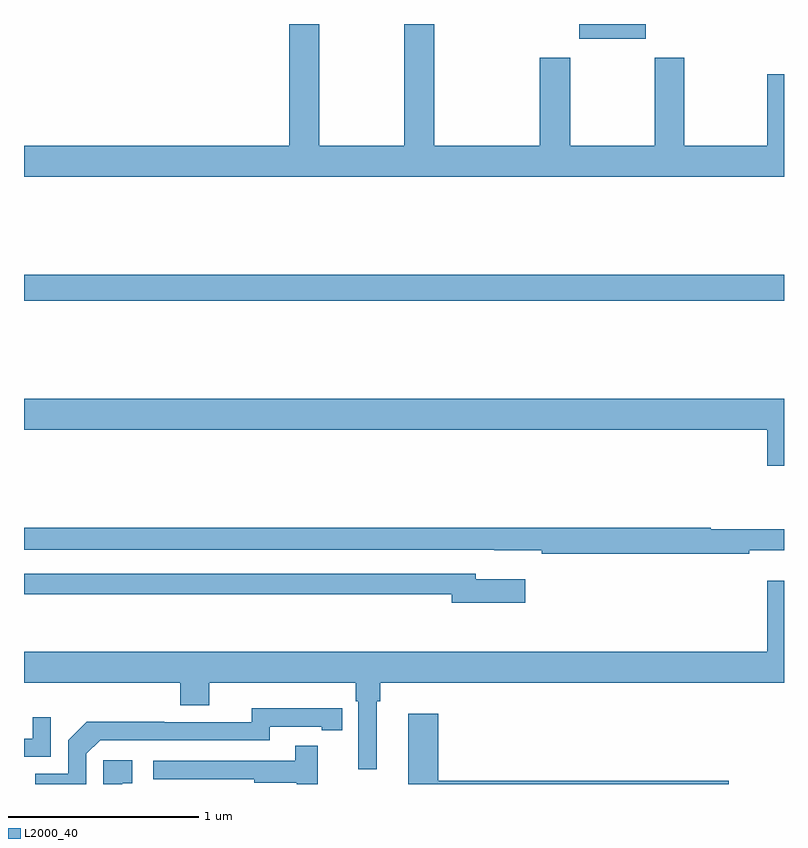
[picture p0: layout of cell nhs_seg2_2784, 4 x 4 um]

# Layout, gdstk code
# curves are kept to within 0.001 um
import gdstk
lib = gdstk.Library(unit=1e-6, precision=1e-09)
def R(c, l, rs):  # rectangles x0, y0, x1, y1
    for r in rs: c.add(gdstk.rectangle(r[:2], r[2:], *l))
def P(c, l, *ps):  # polygons
    for p in ps: c.add(gdstk.Polygon(p, *l))
L2000_40 = (2000, 40)

nhs_seg2_2784 = lib.new_cell('nhs_seg2_2784')
R(nhs_seg2_2784, L2000_40, [(257,620.344,261,620.48), (259.922,621.722,260.272,621.8)])
P(nhs_seg2_2784, L2000_40, [(261,621.535),(260.912,621.535),(260.912,621.16),(260.475,621.16),(260.475,621.622),(260.32,621.622),(260.32,621.16),(259.875,621.16),(259.875,621.622),(259.715,621.622),(259.715,621.16),(259.16,621.16),(259.16,621.8),(259,621.8),(259,621.16),(258.555,621.16),(258.555,621.8),(258.395,621.8),(258.395,621.16),(257,621.16),(257,620.996),(261,620.996)],
  [(261,619.828),(257,619.828),(257,619.664),(260.912,619.664),(260.912,619.476),(261,619.476)],
  [(260.816,619.031),(261,619.031),(261,619.141),(260.614,619.141),(260.614,619.148),(257,619.148),(257,619.032),(259.474,619.032),(259.474,619.031),(259.726,619.031),(259.726,619.012),(260.816,619.012)],
  [(259.639,618.877),(259.378,618.877),(259.378,618.906),(257,618.906),(257,618.798),(259.25,618.798),(259.25,618.755),(259.639,618.755)],
  [(258.856,618.236),(258.875,618.236),(258.875,618.332),(261,618.332),(261,618.871),(260.912,618.871),(260.912,618.496),(257,618.496),(257,618.332),(257.822,618.332),(257.822,618.215),(257.974,618.215),(257.974,618.332),(258.746,618.332),(258.746,618.236),(258.759,618.236),(258.759,617.877),(258.856,617.877)],
  [(257.328,617.958),(257.4,618.03),(258.294,618.03),(258.294,618.102),(258.566,618.102),(258.566,618.082),(258.674,618.082),(258.674,618.198),(258.198,618.199),(258.198,618.126),(257.738,618.126),(257.738,618.128),(257.33,618.128),(257.232,618.03),(257.232,617.853),(257.058,617.853),(257.058,617.8),(257.328,617.8)],
  [(260.71,617.816),(259.181,617.816),(259.181,618.169),(259.022,618.169),(259.022,617.8),(260.71,617.8)],
  [(257.142,618.151),(257.045,618.151),(257.045,618.039),(257,618.039),(257,617.943),(257.142,617.943)],
  [(258.545,618.001),(258.427,618.001),(258.427,617.922),(257.679,617.922),(257.679,617.826),(258.211,617.826),(258.211,617.806),(258.435,617.806),(258.435,617.8),(258.545,617.8)],
  [(257.516,617.805),(257.569,617.805),(257.569,617.926),(257.418,617.926),(257.418,617.8),(257.516,617.8)])

lib.write_gds('nhs_seg2_2784.gds')
